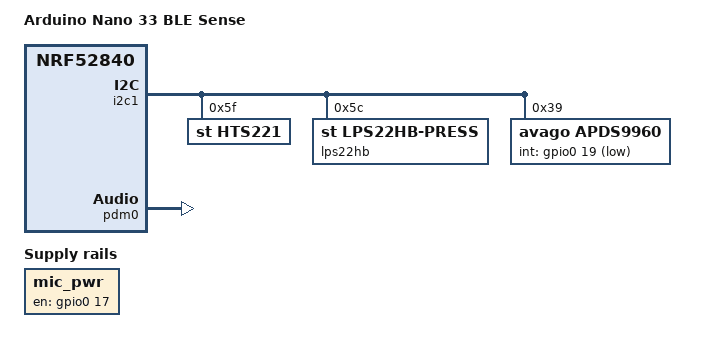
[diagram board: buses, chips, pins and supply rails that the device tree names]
/*
 * Copyright (c) 2020 Jefferson Lee
 *
 * SPDX-License-Identifier: Apache-2.0
 */
/dts-v1/;
#include <nordic/nrf52840_qiaa.dtsi>
#include "arduino_nano_33_ble-common.dtsi"
#include "arduino_nano_33_ble-pinctrl.dtsi"
#include "arduino_nano_connector.dtsi"

/ {
	compatible = "arduino,arduino_nano_33_ble_sense";
	model = "Arduino Nano 33 BLE Sense";

	mic_pwr: mic_pwr {
		compatible = "regulator-fixed";
		regulator-name = "mic_pwr";
		enable-gpios = <&gpio0 17 GPIO_ACTIVE_HIGH>;
		regulator-boot-on;
	};
};

&i2c1 {
	hts221: hts221@5f {
		compatible = "st,hts221";
		reg = <0x5f>;
		status = "okay";
	};

	lps22hb: lps22hb-press@5c {
		compatible = "st,lps22hb-press";
		reg = <0x5c>;
		status = "okay";
	};

	apds9960: apds9960@39 {
		compatible = "avago,apds9960";
		reg = <0x39>;
		int-gpios = <&gpio0 19 (GPIO_ACTIVE_LOW | GPIO_PULL_UP)>;
		status = "okay";
	};
};

dmic_dev: &pdm0 {
	pinctrl-0 = <&pdm0_default>;
	pinctrl-1 = <&pdm0_sleep>;
	pinctrl-names = "default", "sleep";
	clock-source = "PCLK32M_HFXO";
	status = "okay";
};
